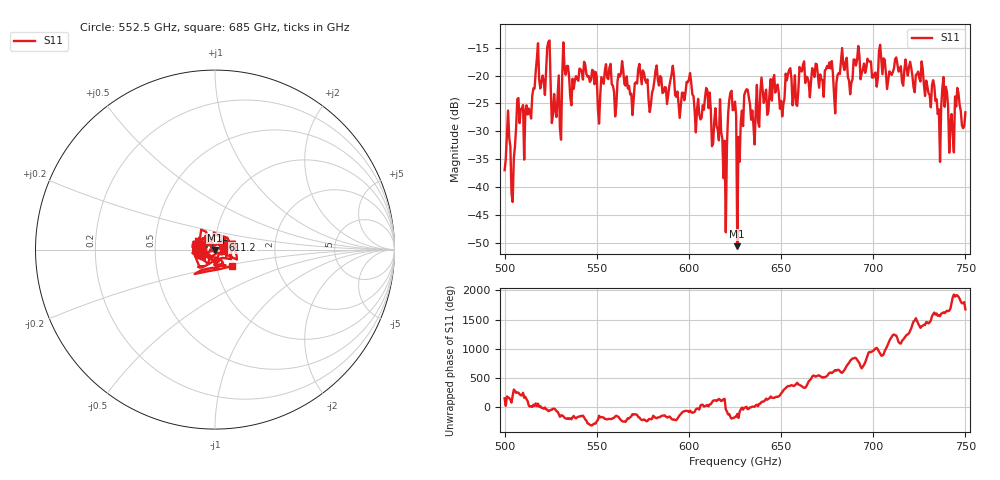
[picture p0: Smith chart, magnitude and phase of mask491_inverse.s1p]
!Created with skrf (http://scikit-rf.org).
# GHz S MA R 50.0
!freq magS11 angS11
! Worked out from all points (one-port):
!   401 points, 500 GHz to 750 GHz, reference 50 ohm
!   lowest |S11| = -50.6 dB at 626.2 GHz (marker M1), VSWR 1.01, Z = 49.9 - j0.274 ohm
!   |S11| at or under -10 dB: start of sweep to end of sweep
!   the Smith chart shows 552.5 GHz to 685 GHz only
!   S11 on the Smith chart (normalised r, x): 552.5 GHz: 0.83, -0.04; 611.2 GHz: 1.09, +0.12; 685 GHz: 1.19, -0.22
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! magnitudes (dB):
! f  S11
! 500 GHz  -37.0
! 504.4 GHz  -42.7
! 507.5 GHz  -24.0
! 511.9 GHz  -25.3
! 517.5 GHz  -16.9
! 523.8 GHz  -13.9
! 526.9 GHz  -23.3
! 531.2 GHz  -20.1
! 533.1 GHz  -19.8
! 552.5 GHz  -20.3
! 562.5 GHz  -20.2
! 593.8 GHz  -22.9
! 611.2 GHz  -23.0
! 619.4 GHz  -31.7
! 622.5 GHz  -23.1
! 625 GHz  -24.7
! 626.2 GHz  -50.6
! 631.2 GHz  -22.5
! 635 GHz  -28.8
! 656.2 GHz  -25.3
! 685 GHz  -17.6
! 687.5 GHz  -23.4
! 718.8 GHz  -20.0
! 735.6 GHz  -26.1
! 738.8 GHz  -25.6
! 742.5 GHz  -26.9
! 745.6 GHz  -22.2
! 750 GHz  -26.6
